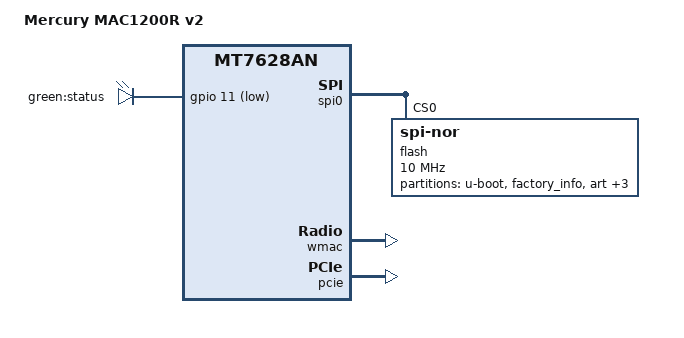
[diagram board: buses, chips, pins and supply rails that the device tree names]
#include "mt7628an.dtsi"

#include <dt-bindings/gpio/gpio.h>
#include <dt-bindings/input/input.h>

/ {
	compatible = "mercury,mac1200r-v2", "mediatek,mt7628an-soc";
	model = "Mercury MAC1200R v2";

	aliases {
		led-boot = &led_status;
		led-failsafe = &led_status;
		led-running = &led_status;
		led-upgrade = &led_status;
	};

	leds {
		compatible = "gpio-leds";

		led_status: status {
			label = "green:status";
			gpios = <&gpio 11 GPIO_ACTIVE_LOW>;
		};
	};
};

&spi0 {
	status = "okay";

	flash@0 {
		compatible = "jedec,spi-nor";
		reg = <0>;
		spi-max-frequency = <10000000>;

		partitions {
			compatible = "fixed-partitions";
			#address-cells = <1>;
			#size-cells = <1>;

			partition@0 {
				label = "u-boot";
				reg = <0x0 0x1d800>;
			};

			factory: partition@1d800 {
				label = "factory_info";
				reg = <0x1d800 0x800>;
				read-only;

				nvmem-layout {
					compatible = "fixed-layout";
					#address-cells = <1>;
					#size-cells = <1>;

					eeprom_factory_0: eeprom@0 {
						reg = <0x0 0x400>;
					};

					macaddr_factory_d: macaddr@d {
						reg = <0xd 0x6>;
					};
				};
			};

			art: partition@1e000 {
				label = "art";
				reg = <0x1e000 0x2000>;
				read-only;

				nvmem-layout {
					compatible = "fixed-layout";
					#address-cells = <1>;
					#size-cells = <1>;

					eeprom_art_1000: eeprom@1000 {
						reg = <0x1000 0x200>;
					};
				};
			};

			partition@20000 {
				label = "config";
				reg = <0x20000 0x10000>;
			};

			partition@30000 {
				label = "u-boot2";
				reg = <0x30000 0x10000>;
			};

			partition@40000 {
				compatible = "denx,uimage";
				label = "firmware";
				reg = <0x40000 0x7c0000>;
			};
		};
	};
};

&ethernet {
	pinctrl-names = "default";
	nvmem-cells = <&macaddr_factory_d>;
	nvmem-cell-names = "mac-address";
};

&esw {
	mediatek,portmap = <0x2f>;
};

&wmac {
	status = "okay";

	nvmem-cells = <&eeprom_factory_0>;
	nvmem-cell-names = "eeprom";
};

&pcie {
	status = "okay";
};

&pcie0 {
	mt76@0,0 {
		reg = <0x0000 0 0 0 0>;
		nvmem-cells = <&eeprom_art_1000>;
		nvmem-cell-names = "eeprom";
		ieee80211-freq-limit = <5000000 6000000>;
	};
};
